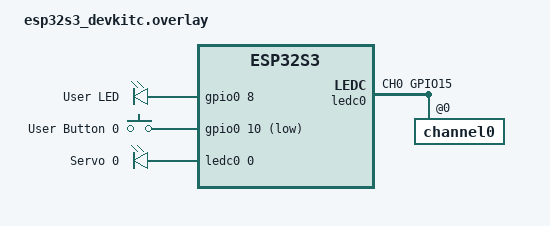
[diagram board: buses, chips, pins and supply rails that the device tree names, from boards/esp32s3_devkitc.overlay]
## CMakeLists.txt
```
cmake_minimum_required(VERSION 3.20.0)

find_package(Zephyr REQUIRED HINTS $ENV{ZEPHYR_BASE})
project(sg90_stepper LANGUAGES C)

target_sources(app PRIVATE src/main.c)
```

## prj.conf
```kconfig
# Console + logging
CONFIG_ESPTOOLPY_FLASHSIZE_16MB=y
CONFIG_CONSOLE=y
CONFIG_UART_CONSOLE=y
CONFIG_LOG=y
CONFIG_LOG_DEFAULT_LEVEL=3

# Use minimal C library to avoid picolibc/newlib conflicts
CONFIG_MINIMAL_LIBC=y
CONFIG_PICOLIBC=n
CONFIG_NEWLIB_LIBC=n

# GPIO + PWM support
CONFIG_GPIO=y
CONFIG_PWM=y

# A bit more stack for the state machine + work items
CONFIG_MAIN_STACK_SIZE=4096
```

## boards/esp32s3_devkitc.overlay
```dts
/* SG90 hobby servo demo: PWM on GPIO15, on-board button + LED. */
/ {
    aliases {
        led0 = &onboard_led;
        sw0 = &user_button0;
        servo0 = &servo0;
    };
};

&gpio0 {
    status = "okay";
};

/* PWM output on GPIO15 using LEDC channel 0. */
&pinctrl {
    ledc0_ch0: ledc0_ch0 {
        group1 {
            pinmux = <LEDC_CH0_GPIO15>;
            output-enable;
        };
    };
};

&ledc0 {
    status = "okay";
    pinctrl-0 = <&ledc0_ch0>;
    pinctrl-names = "default";
    #address-cells = <1>;
    #size-cells = <0>;

    channel0: channel0@0 {
        reg = <0>;
        timer = <0>;
    };
};

/* On-board LED + user button reused from other demos. */
/ {
    leds {
        compatible = "gpio-leds";
        onboard_led: led_0 {
            gpios = <&gpio0 8 GPIO_ACTIVE_HIGH>;
            label = "User LED";
        };
    };

    buttons {
        compatible = "gpio-keys";
        user_button0: button_0 {
            gpios = <&gpio0 10 (GPIO_PULL_UP | GPIO_ACTIVE_LOW)>;
            label = "User Button 0";
        };
    };

    /* Servo PWM binding (50 Hz period = 20 ms, 1-2 ms pulse window). */
    pwm_outputs {
        compatible = "pwm-leds";
        servo0: servo_0 {
            /* period = 20_000_000 ns (50 Hz), flags = 0 (normal polarity) */
            pwms = <&ledc0 0 20000000 0>;
            label = "Servo 0";
        };
    };
};
```

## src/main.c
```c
/*
 * SG90 hobby servo demo using a single PWM pin.
 * Button cycles a 3-state machine: off -> right -> left -> off.
 * LED mirrors "servo active" (on when driving).
 */

#include <zephyr/kernel.h>
#include <zephyr/device.h>
#include <zephyr/drivers/gpio.h>
#include <zephyr/drivers/pwm.h>
#include <zephyr/logging/log.h>

LOG_MODULE_REGISTER(sg90, LOG_LEVEL_INF);

#define DEBOUNCE_MS 100
#define SERVO_PERIOD PWM_MSEC(20)
#define SERVO_PULSE_LEFT PWM_USEC(1000)
#define SERVO_PULSE_RIGHT PWM_USEC(2000)

/* Bindings from the overlay. */
static const struct gpio_dt_spec led = GPIO_DT_SPEC_GET(DT_ALIAS(led0), gpios);
static const struct gpio_dt_spec button = GPIO_DT_SPEC_GET(DT_ALIAS(sw0), gpios);
static const struct pwm_dt_spec servo_pwm = PWM_DT_SPEC_GET(DT_ALIAS(servo0));

/* Button ISR + debounce. */
static struct gpio_callback button_cb_data;
static struct k_work_delayable debounce_work;
static bool press_latched;

enum servo_state {
    SERVO_OFF = 0,
    SERVO_RIGHT,
    SERVO_LEFT,
};

static enum servo_state state = SERVO_OFF;

static void set_servo_pulse(uint32_t pulse)
{
    int ret = pwm_set_dt(&servo_pwm, SERVO_PERIOD, pulse);
    if (ret < 0) {
        LOG_ERR("pwm_set_dt failed (%d)", ret);
    }
}

static void apply_state(enum servo_state new_state)
{
    state = new_state;

    switch (state) {
    case SERVO_RIGHT:
        set_servo_pulse(SERVO_PULSE_RIGHT);
        gpio_pin_set_dt(&led, 1);
        LOG_INF("Servo: right (%u us)", SERVO_PULSE_RIGHT / 1000U);
        break;
    case SERVO_LEFT:
        set_servo_pulse(SERVO_PULSE_LEFT);
        gpio_pin_set_dt(&led, 1);
        LOG_INF("Servo: left (%u us)", SERVO_PULSE_LEFT / 1000U);
        break;
    case SERVO_OFF:
    default:
        set_servo_pulse(0);
        gpio_pin_set_dt(&led, 0);
        LOG_INF("Servo: off");
        break;
    }
}

static void advance_state(void)
{
    switch (state) {
    case SERVO_OFF:
        apply_state(SERVO_RIGHT);
        break;
    case SERVO_RIGHT:
        apply_state(SERVO_LEFT);
        break;
    case SERVO_LEFT:
    default:
        apply_state(SERVO_OFF);
        break;
    }
}

static void debounce_work_handler(struct k_work *work)
{
    ARG_UNUSED(work);

    int val = gpio_pin_get_dt(&button);
    if (val < 0) {
        LOG_ERR("Failed to read button state (%d)", val);
        return;
    }

    bool pressed_now = (val != 0); /* logical level: non-zero = pressed */

    if (pressed_now && !press_latched) {
        press_latched = true;
        advance_state();
    } else if (!pressed_now && press_latched) {
        press_latched = false;
    }
}

static void button_pressed(const struct device *dev, struct gpio_callback *cb, uint32_t pins)
{
    ARG_UNUSED(dev);
    ARG_UNUSED(cb);
    ARG_UNUSED(pins);

    k_work_reschedule(&debounce_work, K_MSEC(DEBOUNCE_MS));
}

static int configure_gpio(const struct gpio_dt_spec *spec, gpio_flags_t flags)
{
    if (!device_is_ready(spec->port)) {
        LOG_ERR("Port not ready");
        return -ENODEV;
    }
    return gpio_pin_configure_dt(spec, flags);
}

int main(void)
{
    if (configure_gpio(&led, GPIO_OUTPUT_INACTIVE) < 0 ||
        configure_gpio(&button, GPIO_INPUT) < 0) {
        LOG_ERR("LED/button init failed");
        return 0;
    }

    if (!pwm_is_ready_dt(&servo_pwm)) {
        LOG_ERR("Servo PWM device not ready");
        return 0;
    }

    /* Initialize the work item before anything can trigger it. */
    k_work_init_delayable(&debounce_work, debounce_work_handler);

    gpio_init_callback(&button_cb_data, button_pressed, BIT(button.pin));
    gpio_add_callback(button.port, &button_cb_data);

    /* Arm the interrupt last, after the work item and callback are ready. */
    if (gpio_pin_interrupt_configure_dt(&button, GPIO_INT_EDGE_BOTH) < 0) {
        LOG_ERR("Button interrupt init failed");
        return 0;
    }

    /* Start idle. */
    apply_state(SERVO_OFF);

    LOG_INF("SG90 servo demo ready. Button cycles Off -> Right -> Left.");

    while (1) {
        k_sleep(K_SECONDS(1));
    }

    return 0;
}
```
